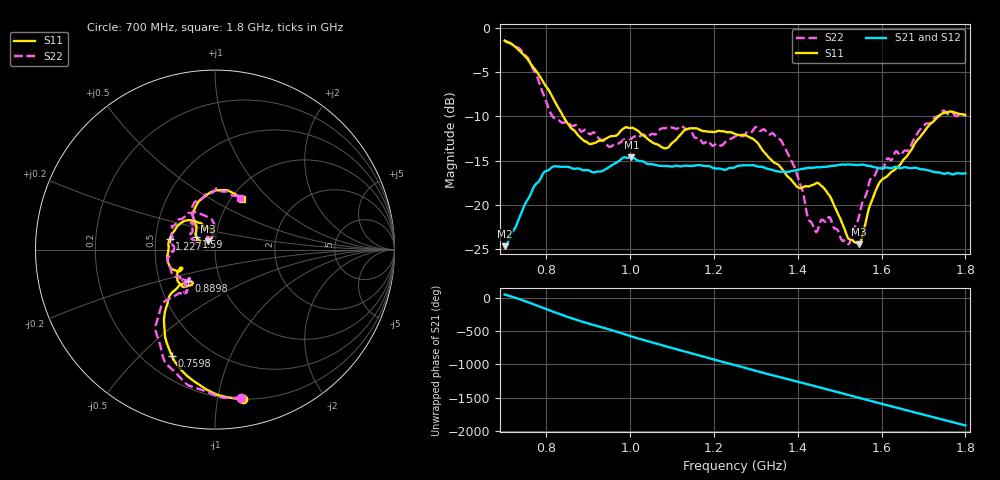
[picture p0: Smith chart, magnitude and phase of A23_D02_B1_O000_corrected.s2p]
! Created with skrf 1.9.0 (http://scikit-rf.org).
# Hz S RI R 50.0
!freq ReS11 ImS11 ReS21 ImS21 ReS12 ImS12 ReS22 ImS22
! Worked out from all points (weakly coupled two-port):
!   1601 points, 700 MHz to 1.8 GHz, reference 50 ohm
!   highest |S21| = -14.61 dB at 1.002 GHz (marker M1); lowest = -24.7 dB at 700.7 MHz (marker M2)
!   lowest |S11| = -24.5 dB at 1.546 GHz (marker M3), VSWR 1.13, Z = 46.2 + j4.3 ohm
!   |S11| at or under -10 dB: 840 MHz to 1.735 GHz (895.1 MHz wide, 69.5 % of centre)
!   |S22| runs from -24.5 to -1.5 dB; largest |S21 - S12| = 0.0035
!   S11 on the Smith chart (normalised r, x): 700 MHz: 0.20, -1.19; 759.8 MHz: 0.31, -0.63; 889.8 MHz: 0.70, -0.26; 1.227 GHz: 0.59, +0.08; 1.59 GHz: 0.80, +0.12; 1.8 GHz: 1.12, +0.71
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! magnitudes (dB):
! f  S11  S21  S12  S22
! 700 MHz  -1.4  -24.7  -24.5  -1.5
! 700.7 MHz  -1.4  -24.7  -24.4  -1.5
! 759.8 MHz  -3.9  -19.0  -18.9  -3.8
! 814.1 MHz  -7.8  -15.7  -15.8  -10.0
! 883.6 MHz  -12.5  -16.0  -15.9  -11.7
! 889.8 MHz  -12.8  -16.1  -16.0  -11.6
! 950.9 MHz  -12.3  -15.7  -15.7  -13.5
! 1.002 GHz  -11.3  -14.6  -14.7  -12.6
! 1.067 GHz  -13.2  -15.6  -15.5  -11.7
! 1.141 GHz  -11.4  -15.6  -15.6  -11.4
! 1.227 GHz  -11.7  -16.1  -16.0  -12.9
! 1.25 GHz  -12.0  -15.8  -15.7  -12.3
! 1.3 GHz  -12.8  -15.6  -15.6  -11.2
! 1.359 GHz  -15.8  -16.3  -16.2  -12.7
! 1.434 GHz  -17.8  -15.8  -15.8  -22.1
! 1.473 GHz  -18.8  -15.7  -15.7  -21.4
! 1.52 GHz  -23.7  -15.4  -15.4  -24.4
! 1.546 GHz  -24.5  -15.5  -15.5  -21.4
! 1.59 GHz  -17.9  -15.8  -15.8  -15.9
! 1.617 GHz  -16.6  -15.8  -15.8  -14.8
! 1.738 GHz  -9.9  -16.3  -16.4  -10.0
! 1.8 GHz  -9.9  -16.4  -16.4  -9.9
